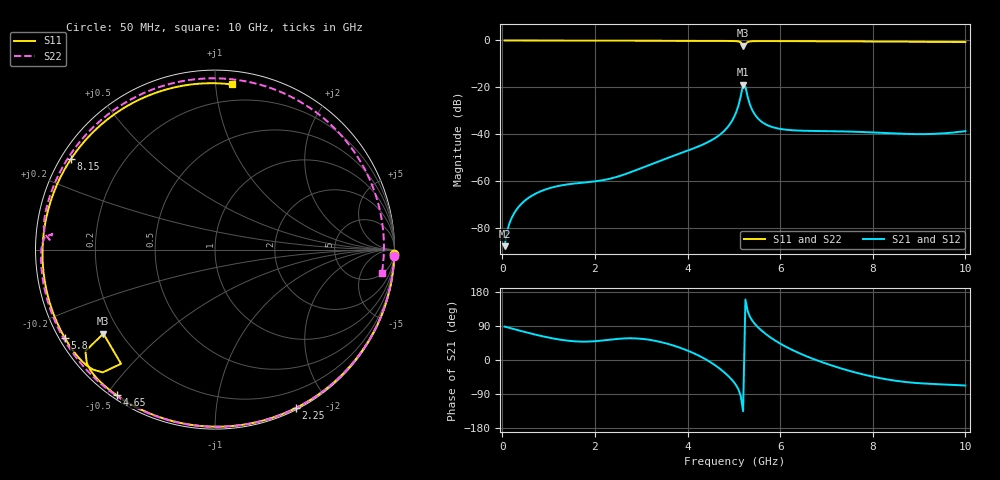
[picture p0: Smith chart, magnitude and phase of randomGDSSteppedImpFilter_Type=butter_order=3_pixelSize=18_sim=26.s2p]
! freq	dB(S11)	phase(S11)	dB(S12)	phase(S12)
!  dB(S21)	phase(S21)	dB(S22)	phase(S22)
!S-par simulation data
#  GHz  S  DB  R 50
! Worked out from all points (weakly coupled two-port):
!   200 points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, 50 MHz to 10 GHz, reference 50 ohm
!   highest |S21| = -18.80 dB at 5.2 GHz (marker M1); lowest = -87.8 dB at 50 MHz (marker M2)
!   lowest |S11| = -2.2 dB at 5.2 GHz (marker M3), VSWR 8.03, Z = 6.91 - j16.4 ohm
!   |S11| at or under -10 dB: nowhere
!   |S22| runs from -0.8 to 0.0 dB; largest |S21 - S12| = 0
!   S11 on the Smith chart (normalised r, x): 50 MHz: 1, -78; 2.25 GHz: 0.02, -1.63; 4.65 GHz: 0.01, -0.53; 5.8 GHz: 0.02, -0.27; 8.15 GHz: 0.03, +0.29; 10 GHz: 0.09, +1.10
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0.05  -0.00 -1.5  -87.76 88.1  -87.76 88.1  -0.01 -2.0
0.1  -0.01 -2.9  -81.77 86.5  -81.77 86.5  -0.01 -3.9
0.35  -0.01 -10.1  -71.06 78.3  -71.06 78.3  -0.02 -13.7
0.65  -0.02 -18.7  -66.09 68.9  -66.09 68.9  -0.03 -25.3
1.75  -0.06 -49.5  -60.65 48.5  -60.65 48.5  -0.08 -66.6
2.25  -0.08 -63.0  -59.31 52.7  -59.31 52.7  -0.10 -84.5
3.4  -0.12 -92.8  -51.41 48.0  -51.41 48.0  -0.15 -123.8
4.65  -0.18 -124.1  -40.92 -18.7  -40.92 -18.7  -0.22 -165.5
4.9  -0.22 -130.9  -36.12 -44.7  -36.12 -44.7  -0.25 -174.2
5.05  -0.31 -136.1  -30.65 -66.8  -30.65 -66.8  -0.28 -179.7
5.15  -0.75 -141.9  -23.75 -95.2  -23.75 -95.2  -0.43 175.9
5.2  -2.17 -143.0  -18.80 -135.1  -18.80 -135.1  -0.82 174.5
5.25  -1.68 -129.5  -19.71 159.7  -19.71 159.7  -0.70 176.6
5.3  -0.66 -132.4  -24.24 128.3  -24.24 128.3  -0.41 174.6
5.45  -0.29 -139.6  -31.52 95.7  -31.52 95.7  -0.30 168.4
5.8  -0.26 -149.6  -36.75 58.7  -36.75 58.7  -0.30 155.7
6.7  -0.32 -172.5  -38.60 3.5  -38.60 3.5  -0.36 122.3
7.45  -0.39 167.6  -38.85 -27.0  -38.85 -27.0  -0.40 92.9
8.15  -0.47 147.6  -39.37 -47.7  -39.37 -47.7  -0.43 64.5
8.35  -0.49 141.6  -39.56 -52.1  -39.56 -52.1  -0.44 56.3
9.2  -0.58 113.8  -39.92 -62.7  -39.92 -62.7  -0.48 22.2
10  -0.68 84.3  -38.69 -67.4  -38.69 -67.4  -0.55 -7.9
